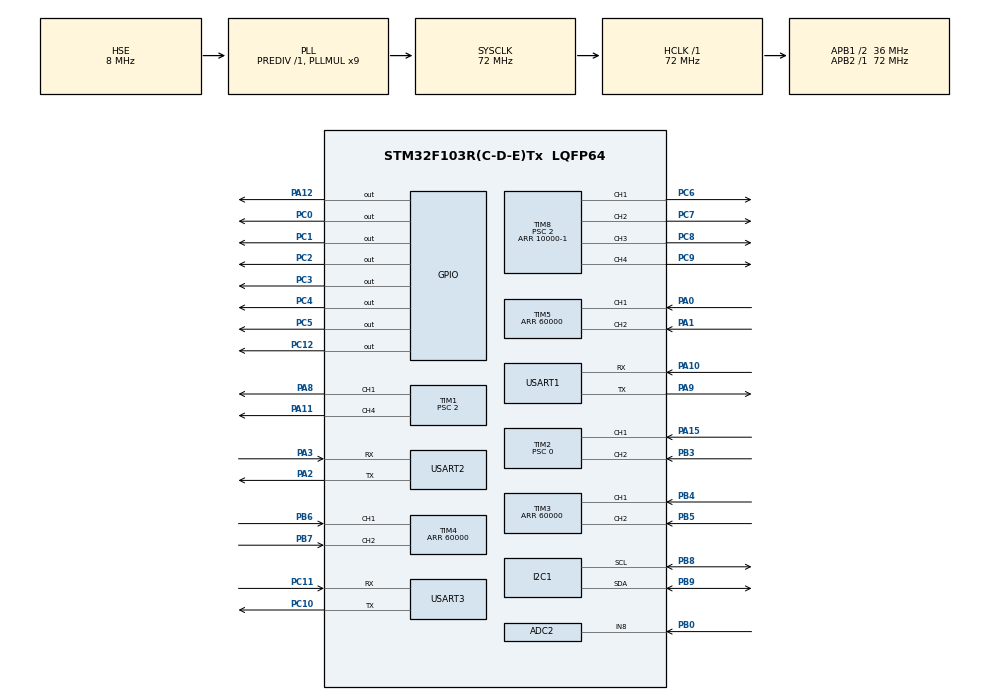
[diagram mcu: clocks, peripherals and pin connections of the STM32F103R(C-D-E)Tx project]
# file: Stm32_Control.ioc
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ADC2.Channel-0\#ChannelRegularConversion=ADC_CHANNEL_8
ADC2.NbrOfConversionFlag=1
ADC2.Rank-0\#ChannelRegularConversion=1
ADC2.SamplingTime-0\#ChannelRegularConversion=ADC_SAMPLETIME_1CYCLE_5
I2C1.I2C_Mode=I2C_Fast
Mcu.Family=STM32F1
Mcu.Name=STM32F103R(C-D-E)Tx
Mcu.Package=LQFP64
NVIC.PriorityGroup=NVIC_PRIORITYGROUP_4
NVIC.TIM6_IRQn=true\:0\:0\:false\:false\:true\:true\:true
NVIC.USART1_IRQn=true\:0\:0\:false\:false\:true\:true\:true
NVIC.USART2_IRQn=true\:0\:0\:false\:false\:true\:true\:true
PA0-WKUP.Signal=S_TIM5_CH1
PA1.Signal=S_TIM5_CH2
PA10.Mode=Asynchronous
PA10.Signal=USART1_RX
PA11.Signal=S_TIM1_CH4
PA12.Signal=GPIO_Output
PA13.Mode=Serial_Wire
PA13.Signal=SYS_JTMS-SWDIO
PA14.Mode=Serial_Wire
PA14.Signal=SYS_JTCK-SWCLK
PA15.Signal=S_TIM2_CH1_ETR
PA2.Mode=Asynchronous
PA2.Signal=USART2_TX
PA3.Mode=Asynchronous
PA3.Signal=USART2_RX
PA8.Signal=S_TIM1_CH1
PA9.Mode=Asynchronous
PA9.Signal=USART1_TX
PB0.Signal=ADCx_IN8
PB3.Signal=S_TIM2_CH2
PB4.Signal=S_TIM3_CH1
PB5.Signal=S_TIM3_CH2
PB6.Signal=S_TIM4_CH1
PB7.Signal=S_TIM4_CH2
PB8.Mode=I2C
PB8.Signal=I2C1_SCL
PB9.Mode=I2C
PB9.Signal=I2C1_SDA
PC0.Signal=GPIO_Output
PC1.Signal=GPIO_Output
PC10.Mode=Asynchronous
PC10.Signal=USART3_TX
PC11.Mode=Asynchronous
PC11.Signal=USART3_RX
PC12.Signal=GPIO_Output
PC2.Signal=GPIO_Output
PC3.Signal=GPIO_Output
PC4.Signal=GPIO_Output
PC5.Signal=GPIO_Output
PC6.Signal=S_TIM8_CH1
PC7.Signal=S_TIM8_CH2
PC8.Signal=S_TIM8_CH3
PC9.Signal=S_TIM8_CH4
PD0-OSC_IN.Mode=HSE-External-Oscillator
PD0-OSC_IN.Signal=RCC_OSC_IN
PD1-OSC_OUT.Mode=HSE-External-Oscillator
PD1-OSC_OUT.Signal=RCC_OSC_OUT
ProjectManager.HeapSize=0x200
ProjectManager.StackSize=0x400
ProjectManager.TargetToolchain=MDK-ARM V5.32
RCC.ADCPresc=RCC_ADCPCLK2_DIV6
RCC.AHBFreq_Value=72000000
RCC.APB1CLKDivider=RCC_HCLK_DIV2
RCC.APB1Freq_Value=36000000
RCC.APB1TimFreq_Value=72000000
RCC.APB2Freq_Value=72000000
RCC.APB2TimFreq_Value=72000000
RCC.HCLKFreq_Value=72000000
RCC.PLLMUL=RCC_PLL_MUL9
RCC.PLLSourceVirtual=RCC_PLLSOURCE_HSE
RCC.SYSCLKFreq_VALUE=72000000
RCC.SYSCLKSource=RCC_SYSCLKSOURCE_PLLCLK
RCC.USBFreq_Value=72000000
SH.ADCx_IN8.0=ADC2_IN8,IN8
SH.S_TIM1_CH1.0=TIM1_CH1,PWM Generation1 CH1
SH.S_TIM1_CH4.0=TIM1_CH4,PWM Generation4 CH4
SH.S_TIM2_CH1_ETR.0=TIM2_CH1,Encoder_Interface
SH.S_TIM2_CH2.0=TIM2_CH2,Encoder_Interface
SH.S_TIM3_CH1.0=TIM3_CH1,Encoder_Interface
SH.S_TIM3_CH2.0=TIM3_CH2,Encoder_Interface
SH.S_TIM4_CH1.0=TIM4_CH1,Encoder_Interface
SH.S_TIM4_CH2.0=TIM4_CH2,Encoder_Interface
SH.S_TIM5_CH1.0=TIM5_CH1,Encoder_Interface
SH.S_TIM5_CH2.0=TIM5_CH2,Encoder_Interface
SH.S_TIM8_CH1.0=TIM8_CH1,PWM Generation1 CH1
SH.S_TIM8_CH2.0=TIM8_CH2,PWM Generation2 CH2
SH.S_TIM8_CH3.0=TIM8_CH3,PWM Generation3 CH3
SH.S_TIM8_CH4.0=TIM8_CH4,PWM Generation4 CH4
TIM1.AutoReloadPreload=TIM_AUTORELOAD_PRELOAD_ENABLE
TIM1.Channel-PWM\ Generation1\ CH1=TIM_CHANNEL_1
TIM1.Channel-PWM\ Generation4\ CH4=TIM_CHANNEL_4
TIM1.Period=10000-1
TIM1.Prescaler=2
TIM1.Pulse-PWM\ Generation1\ CH1=5000
TIM1.Pulse-PWM\ Generation4\ CH4=5000
TIM2.AutoReloadPreload=TIM_AUTORELOAD_PRELOAD_ENABLE
TIM2.EncoderMode=TIM_ENCODERMODE_TI12
TIM2.IC1Filter=6
TIM2.IC2Filter=6
TIM2.Period=60000
TIM2.Prescaler=0
TIM3.EncoderMode=TIM_ENCODERMODE_TI12
TIM3.IC1Filter=6
TIM3.IC2Filter=6
TIM3.Period=60000
TIM4.EncoderMode=TIM_ENCODERMODE_TI12
TIM4.IC1Filter=6
TIM4.IC2Filter=6
TIM4.Period=60000
TIM5.EncoderMode=TIM_ENCODERMODE_TI12
TIM5.IC1Filter=6
TIM5.IC2Filter=6
TIM5.Period=60000
TIM6.Period=10000
TIM6.Prescaler=72-1
TIM8.AutoReloadPreload=TIM_AUTORELOAD_PRELOAD_ENABLE
TIM8.Channel-PWM\ Generation1\ CH1=TIM_CHANNEL_1
TIM8.Channel-PWM\ Generation2\ CH2=TIM_CHANNEL_2
TIM8.Channel-PWM\ Generation3\ CH3=TIM_CHANNEL_3
TIM8.Channel-PWM\ Generation4\ CH4=TIM_CHANNEL_4
TIM8.Period=10000-1
TIM8.Prescaler=2
TIM8.Pulse-PWM\ Generation1\ CH1=5000
TIM8.Pulse-PWM\ Generation2\ CH2=5000
TIM8.Pulse-PWM\ Generation3\ CH3=5000
TIM8.Pulse-PWM\ Generation4\ CH4=5000
USART1.VirtualMode=VM_ASYNC
USART2.VirtualMode=VM_ASYNC
USART3.VirtualMode=VM_ASYNC
VP_TIM1_VS_ClockSourceINT.Mode=Internal
VP_TIM6_VS_ClockSourceINT.Mode=Enable_Timer
VP_TIM8_VS_ClockSourceINT.Mode=Internal
board=custom

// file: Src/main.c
/* USER CODE BEGIN Header */
/**
  ******************************************************************************
  * @file           : main.c
  * @brief          : Main program body
  ******************************************************************************
  * @attention
  *
  * <h2><center>&copy; Copyright (c) 2023 STMicroelectronics.
  * All rights reserved.</center></h2>
  *
  * This software component is licensed by ST under BSD 3-Clause license,
  * the "License"; You may not use this file except in compliance with the
  * License. You may obtain a copy of the License at:
  *                        opensource.org/licenses/BSD-3-Clause
  *
  ******************************************************************************
  */
/* USER CODE END Header */
#include "main.h"

/* USER CODE BEGIN Includes */
#include <stdio.h>
#include "debug.h"
#include "motor_drive.h"
#include "debug_uart.h"
#include "motor_encode.h"
#include "motor_pid.h"
#include "Kinematics.h"
#include "Communication_Serial.h"
#include "mpu6050.h"

/* USER CODE END Includes */

/* USER CODE BEGIN PD */
DEBUG_SET_LEVEL(DEBUG_LEVEL_DEBUG);
#define ENCODER_MID_VALUE 30000

/* USER CODE END PD */

ADC_HandleTypeDef hadc2;

I2C_HandleTypeDef hi2c1;

TIM_HandleTypeDef htim1;
TIM_HandleTypeDef htim2;
TIM_HandleTypeDef htim3;
TIM_HandleTypeDef htim4;
TIM_HandleTypeDef htim5;
TIM_HandleTypeDef htim6;
TIM_HandleTypeDef htim8;

UART_HandleTypeDef huart1;
UART_HandleTypeDef huart2;
UART_HandleTypeDef huart3;

/* USER CODE BEGIN PV */
extern uint8_t uartRxBuffer[20];
extern uint16_t Target_Speed_A;//串口输入,用于测试PID
extern uint16_t Target_Speed_B;
extern uint16_t Target_Speed_C;
extern uint16_t Target_Speed_D;
extern int16_t motor_kp;  //PID-P
extern int16_t motor_ki;    //PID-I
extern int16_t motor_kd;  //PID-D

int16_t encoder_delta[4] = {0};//编码器变化的值     --用于速度的计算
int16_t encoder_sum[4]   = {0};//编码器变化的累加值 --用于里程计的计算

int16_t motor_pwm[4] 	   = {0};
int16_t robot_odom[6] = {0}; //里程计数据，绝对值和变化值，x y yaw dx dy dyaw

int16_t robot_target_speed[3] = {0};//机器人目标速度(x,y,yaw)，该值是由ROS上层通过串口传递过来
int16_t encoder_delta_target[4] = {0}; //编码器目标变化值，由上面的robot_target_speed[]根据逆解算得到的四轮转速的编码器值

int16_t mpu_data[10]; //用于存储IMU数据(陀螺仪,加速度,姿态角)---最后一个位置没有使用
int16_t robot_params[2]={1000,1000};

/* USER CODE END PV */

void SystemClock_Config(void);
static void MX_GPIO_Init(void);
static void MX_ADC2_Init(void);
static void MX_I2C1_Init(void);
static void MX_TIM1_Init(void);
static void MX_TIM2_Init(void);
static void MX_TIM3_Init(void);
static void MX_TIM4_Init(void);
static void MX_TIM5_Init(void);
static void MX_TIM6_Init(void);
static void MX_TIM8_Init(void);
static void MX_USART1_UART_Init(void);
static void MX_USART2_UART_Init(void);
static void MX_USART3_UART_Init(void);

/* USER CODE BEGIN 0 */

/*Use for uart printf*/
int fputc(int ch,FILE *f){
	uint8_t temp[1] = {ch};
	HAL_UART_Transmit(&huart1,temp,1,2);
	return 1;
}

/**
  * @简  述  MPU6050 DMP获取解算数据，姿态欧拉角
  * @参  数  无
  * @返回值  无
  * @全  局
	mpu_data[0-2] 陀螺仪
  mpu_data[3-5] 加速度
  mpu_data[6-8] 欧拉角 横滚，俯仰，航向，实际角度扩大100倍
  pitch:俯仰角 精度:0.1°   范围:-90.0° <---> +90.0°
	roll:横滚角  精度:0.1°   范围:-180.0°<---> +180.0°
	yaw:航向角   精度:0.1°   范围:-180.0°<---> +180.0°
  */

void ROBOT_GetImuData()
{
				//读取mpu所有原始数据
		w_mpu_read_all_raw_data(&mpu_raw_msg);
		//读取mpu姿态
		read_dmp(&mpu_pose_msg);
		// DEBUG("Pitch: %f\t ", mpu_pose_msg.pitch);
		// DEBUG("Roll:  %f\t ", mpu_pose_msg.roll);
		// DEBUG("Yaw:   %f\t \r\n", mpu_pose_msg.yaw);
		//陀螺仪
		mpu_data[0] = mpu_raw_msg.mpu_gyro[0];
		mpu_data[1] = mpu_raw_msg.mpu_gyro[1];
		mpu_data[2] =	mpu_raw_msg.mpu_gyro[2];
		//加速度
		mpu_data[3] = mpu_raw_msg.mpu_acce[0];
		mpu_data[4] = mpu_raw_msg.mpu_acce[1];
		mpu_data[5] =	mpu_raw_msg.mpu_acce[2];
		//姿态-放大了100倍
		mpu_data[6] = mpu_pose_msg.pitch * 100;
		mpu_data[7] = mpu_pose_msg.roll  * 100;
		mpu_data[8] =	mpu_pose_msg.yaw 	 * 100;
		//DEBUG("angular(%f,%f,%f)\r\n",((float)mpu_data[0]/32768*2000/180*3.1415),((float)mpu_data[1]/32768*2000/180*3.1415),((float)mpu_data[2]/32768*2000/180*3.1415));

}
void MPU6050_Init()
{
		while(w_mpu_init() != mpu_ok)
		{
			ERR("0x%x (ID_ERROR)\r\n", w_mpu_init());
			HAL_Delay(500);
		}
		while(0 != dmp_init())
		{
			ERR("Dmp init error \r\n");
			HAL_Delay(1000);
		}
}

void Robot_Move_Ctrl(void)
{
		 //每隔一定时间得到编码器的变化值
		encoder_delta[0] = Get_Encode_Motor_A()-ENCODER_MID_VALUE;  		//A-左前
		encoder_delta[1] = Get_Encode_Motor_B()  -ENCODER_MID_VALUE;  	//B-右前
		encoder_delta[2] = -(Get_Encode_Motor_C()-ENCODER_MID_VALUE); 	//C-右后
		encoder_delta[3] = -(Get_Encode_Motor_D()  -ENCODER_MID_VALUE); //D-左后
	//printf("encoder_delta(%d,%d,%d,%d)\r\n",encoder_delta[0],encoder_delta[1],encoder_delta[2],encoder_delta[3]);
		//置位--编码器计数从0~65536的范围因为有正转和反转，所以取了一半30000开始计数
		Set_Encode_Count_A(ENCODER_MID_VALUE);
		Set_Encode_Count_B(ENCODER_MID_VALUE);
		Set_Encode_Count_C(ENCODER_MID_VALUE);
		Set_Encode_Count_D(ENCODER_MID_VALUE);
		//编码器变化的累加值--用于里程计的计算
		encoder_sum[0] += encoder_delta[0];
		encoder_sum[1] += encoder_delta[1];
		encoder_sum[2] += encoder_delta[2];
		encoder_sum[3] += encoder_delta[3];
		//运动学解析
		Kinematics_Forward(encoder_sum,robot_odom);//正解:得到里程计和小车轴心速度
		Kinematics_Inverse(robot_target_speed, encoder_delta_target);//逆解：由串口数据得到编码器的目标值
		//PID的控制
		motor_pwm[0] = PID_MotorVelocityCtlA(encoder_delta_target[0], encoder_delta[0]);
		motor_pwm[1] = PID_MotorVelocityCtlB(encoder_delta_target[1], encoder_delta[1]);
		motor_pwm[2] = PID_MotorVelocityCtlC(encoder_delta_target[2], encoder_delta[2]);
		motor_pwm[3] = PID_MotorVelocityCtlD(encoder_delta_target[3], encoder_delta[3]);

		// DEBUG("target(%d,%d,%d,%d), encoder_delta(%d,%d,%d,%d),motor_pwm(%d,%d,%d,%d)\r\n",
		// 				encoder_delta_target[0],encoder_delta_target[1],encoder_delta_target[2],encoder_delta_target[3],
		// 				encoder_delta[0],encoder_delta[0],encoder_delta[0],encoder_delta[0],
		// 				motor_pwm[0],motor_pwm[1],motor_pwm[2],motor_pwm[3]);

		// PID的控制
		Motor_A_SetSpeed(motor_pwm[0]);
		Motor_B_SetSpeed(motor_pwm[1]);
		Motor_C_SetSpeed(motor_pwm[2]);
		Motor_D_SetSpeed(motor_pwm[3]);
}

/* USER CODE END 0 */

int main(void)
{
  /* USER CODE BEGIN 1 */
    uint8_t cnt_50HZ = 1;
  /* USER CODE END 1 */

  /* MCU Configuration--------------------------------------------------------*/

  /* Reset of all peripherals, Initializes the Flash interface and the Systick. */
  HAL_Init();

  /* Configure the system clock */
  SystemClock_Config();

  /* Initialize all configured peripherals */
  MX_GPIO_Init();
  MX_ADC2_Init();
  MX_I2C1_Init();
  MX_TIM1_Init();
  MX_TIM2_Init();
  MX_TIM3_Init();
  MX_TIM4_Init();
  MX_TIM5_Init();
  MX_TIM6_Init();
  MX_TIM8_Init();
  MX_USART2_UART_Init();
  MX_USART3_UART_Init();
  MX_USART1_UART_Init();
  Enable_UART_Receive();

  /* USER CODE BEGIN 2 */
  MPU6050_Init ();
  Motor_Init();

  MOTOR_A_Control(RUN,FORWART,2000);
  MOTOR_B_Control(RUN,FORWART,2000);
  MOTOR_C_Control(RUN,FORWART,2000);
  MOTOR_D_Control(RUN,FORWART,2000);

  Start_Encode();
  Set_Encode_Count_A(ENCODER_MID_VALUE);
	Set_Encode_Count_B(ENCODER_MID_VALUE);
	Set_Encode_Count_C(ENCODER_MID_VALUE);
	Set_Encode_Count_D(ENCODER_MID_VALUE);

  Start_Main_Loop();

  INFO("Init done...\r\n");

  Kinematics_Init(robot_params);

  // char count_str[20];
  // char a =1;

  /* USER CODE END 2 */

  /* Infinite loop */
  while (1)
  {
		if(check_tim6_status() == 1)//10ms-->100MHZ
		{
			if(cnt_50HZ % 2 ==0)//50MHZ
			{
				//机器人的运动控制<正解、逆解、PID等>
				// Robot_Move_Ctrl();

				//获取IMU数据
				ROBOT_GetImuData();

				//向上位机发送数据
				ROBOT_SendDataToJetson();

			}
      cnt_50HZ ++;
    }
    // printf_rcv_buffer(&mpu_data,10);
    // uart_debug();  //uart debug

  }
}

void SystemClock_Config(void)
{
  RCC_OscInitTypeDef RCC_OscInitStruct = {0};
  RCC_ClkInitTypeDef RCC_ClkInitStruct = {0};
  RCC_PeriphCLKInitTypeDef PeriphClkInit = {0};

  /** Initializes the RCC Oscillators according to the specified parameters
  * in the RCC_OscInitTypeDef structure.
  */
  RCC_OscInitStruct.OscillatorType = RCC_OSCILLATORTYPE_HSE;
  RCC_OscInitStruct.HSEState = RCC_HSE_ON;
  RCC_OscInitStruct.HSEPredivValue = RCC_HSE_PREDIV_DIV1;
  RCC_OscInitStruct.HSIState = RCC_HSI_ON;
  RCC_OscInitStruct.PLL.PLLState = RCC_PLL_ON;
  RCC_OscInitStruct.PLL.PLLSource = RCC_PLLSOURCE_HSE;
  RCC_OscInitStruct.PLL.PLLMUL = RCC_PLL_MUL9;
  if (HAL_RCC_OscConfig(&RCC_OscInitStruct) != HAL_OK)
  {
    Error_Handler();
  }
  /** Initializes the CPU, AHB and APB buses clocks
  */
  RCC_ClkInitStruct.ClockType = RCC_CLOCKTYPE_HCLK|RCC_CLOCKTYPE_SYSCLK
                              |RCC_CLOCKTYPE_PCLK1|RCC_CLOCKTYPE_PCLK2;
  RCC_ClkInitStruct.SYSCLKSource = RCC_SYSCLKSOURCE_PLLCLK;
  RCC_ClkInitStruct.AHBCLKDivider = RCC_SYSCLK_DIV1;
  RCC_ClkInitStruct.APB1CLKDivider = RCC_HCLK_DIV2;
  RCC_ClkInitStruct.APB2CLKDivider = RCC_HCLK_DIV1;

  if (HAL_RCC_ClockConfig(&RCC_ClkInitStruct, FLASH_LATENCY_2) != HAL_OK)
  {
    Error_Handler();
  }
  PeriphClkInit.PeriphClockSelection = RCC_PERIPHCLK_ADC;
  PeriphClkInit.AdcClockSelection = RCC_ADCPCLK2_DIV6;
  if (HAL_RCCEx_PeriphCLKConfig(&PeriphClkInit) != HAL_OK)
  {
    Error_Handler();
  }
}

static void MX_ADC2_Init(void)
{

  ADC_ChannelConfTypeDef sConfig = {0};

  /** Common config
  */
  hadc2.Instance = ADC2;
  hadc2.Init.ScanConvMode = ADC_SCAN_DISABLE;
  hadc2.Init.ContinuousConvMode = DISABLE;
  hadc2.Init.DiscontinuousConvMode = DISABLE;
  hadc2.Init.ExternalTrigConv = ADC_SOFTWARE_START;
  hadc2.Init.DataAlign = ADC_DATAALIGN_RIGHT;
  hadc2.Init.NbrOfConversion = 1;
  if (HAL_ADC_Init(&hadc2) != HAL_OK)
  {
    Error_Handler();
  }
  /** Configure Regular Channel
  */
  sConfig.Channel = ADC_CHANNEL_8;
  sConfig.Rank = ADC_REGULAR_RANK_1;
  sConfig.SamplingTime = ADC_SAMPLETIME_1CYCLE_5;
  if (HAL_ADC_ConfigChannel(&hadc2, &sConfig) != HAL_OK)
  {
    Error_Handler();
  }

}

static void MX_I2C1_Init(void)
{

  hi2c1.Instance = I2C1;
  hi2c1.Init.ClockSpeed = 400000;
  hi2c1.Init.DutyCycle = I2C_DUTYCYCLE_2;
  hi2c1.Init.OwnAddress1 = 0;
  hi2c1.Init.AddressingMode = I2C_ADDRESSINGMODE_7BIT;
  hi2c1.Init.DualAddressMode = I2C_DUALADDRESS_DISABLE;
  hi2c1.Init.OwnAddress2 = 0;
  hi2c1.Init.GeneralCallMode = I2C_GENERALCALL_DISABLE;
  hi2c1.Init.NoStretchMode = I2C_NOSTRETCH_DISABLE;
  if (HAL_I2C_Init(&hi2c1) != HAL_OK)
  {
    Error_Handler();
  }

}

static void MX_TIM1_Init(void)
{

  TIM_ClockConfigTypeDef sClockSourceConfig = {0};
  TIM_MasterConfigTypeDef sMasterConfig = {0};
  TIM_OC_InitTypeDef sConfigOC = {0};
  TIM_BreakDeadTimeConfigTypeDef sBreakDeadTimeConfig = {0};

  htim1.Instance = TIM1;
  htim1.Init.Prescaler = 2;
  htim1.Init.CounterMode = TIM_COUNTERMODE_UP;
  htim1.Init.Period = 10000-1;
  htim1.Init.ClockDivision = TIM_CLOCKDIVISION_DIV1;
  htim1.Init.RepetitionCounter = 0;
  htim1.Init.AutoReloadPreload = TIM_AUTORELOAD_PRELOAD_ENABLE;
  if (HAL_TIM_Base_Init(&htim1) != HAL_OK)
  {
    Error_Handler();
  }
  sClockSourceConfig.ClockSource = TIM_CLOCKSOURCE_INTERNAL;
  if (HAL_TIM_ConfigClockSource(&htim1, &sClockSourceConfig) != HAL_OK)
  {
    Error_Handler();
  }
  if (HAL_TIM_PWM_Init(&htim1) != HAL_OK)
  {
    Error_Handler();
  }
  sMasterConfig.MasterOutputTrigger = TIM_TRGO_RESET;
  sMasterConfig.MasterSlaveMode = TIM_MASTERSLAVEMODE_DISABLE;
  if (HAL_TIMEx_MasterConfigSynchronization(&htim1, &sMasterConfig) != HAL_OK)
  {
    Error_Handler();
  }
  sConfigOC.OCMode = TIM_OCMODE_PWM1;
  sConfigOC.Pulse = 0;
  sConfigOC.OCPolarity = TIM_OCPOLARITY_HIGH;
  sConfigOC.OCNPolarity = TIM_OCNPOLARITY_HIGH;
  sConfigOC.OCFastMode = TIM_OCFAST_DISABLE;
  sConfigOC.OCIdleState = TIM_OCIDLESTATE_RESET;
  sConfigOC.OCNIdleState = TIM_OCNIDLESTATE_RESET;
  if (HAL_TIM_PWM_ConfigChannel(&htim1, &sConfigOC, TIM_CHANNEL_1) != HAL_OK)
  {
    Error_Handler();
  }
  if (HAL_TIM_PWM_ConfigChannel(&htim1, &sConfigOC, TIM_CHANNEL_4) != HAL_OK)
  {
    Error_Handler();
  }
  sBreakDeadTimeConfig.OffStateRunMode = TIM_OSSR_DISABLE;
  sBreakDeadTimeConfig.OffStateIDLEMode = TIM_OSSI_DISABLE;
  sBreakDeadTimeConfig.LockLevel = TIM_LOCKLEVEL_OFF;
  sBreakDeadTimeConfig.DeadTime = 0;
  sBreakDeadTimeConfig.BreakState = TIM_BREAK_DISABLE;
  sBreakDeadTimeConfig.BreakPolarity = TIM_BREAKPOLARITY_HIGH;
  sBreakDeadTimeConfig.AutomaticOutput = TIM_AUTOMATICOUTPUT_DISABLE;
  if (HAL_TIMEx_ConfigBreakDeadTime(&htim1, &sBreakDeadTimeConfig) != HAL_OK)
  {
    Error_Handler();
  }
  HAL_TIM_MspPostInit(&htim1);

}

static void MX_TIM2_Init(void)
{

  TIM_Encoder_InitTypeDef sConfig = {0};
  TIM_MasterConfigTypeDef sMasterConfig = {0};

  htim2.Instance = TIM2;
  htim2.Init.Prescaler = 0;
  htim2.Init.CounterMode = TIM_COUNTERMODE_UP;
  htim2.Init.Period = 60000;
  htim2.Init.ClockDivision = TIM_CLOCKDIVISION_DIV1;
  htim2.Init.AutoReloadPreload = TIM_AUTORELOAD_PRELOAD_ENABLE;
  sConfig.EncoderMode = TIM_ENCODERMODE_TI12;
  sConfig.IC1Polarity = TIM_ICPOLARITY_RISING;
  sConfig.IC1Selection = TIM_ICSELECTION_DIRECTTI;
  sConfig.IC1Prescaler = TIM_ICPSC_DIV1;
  sConfig.IC1Filter = 6;
  sConfig.IC2Polarity = TIM_ICPOLARITY_RISING;
  sConfig.IC2Selection = TIM_ICSELECTION_DIRECTTI;
  sConfig.IC2Prescaler = TIM_ICPSC_DIV1;
  sConfig.IC2Filter = 6;
  if (HAL_TIM_Encoder_Init(&htim2, &sConfig) != HAL_OK)
  {
    Error_Handler();
  }
  sMasterConfig.MasterOutputTrigger = TIM_TRGO_RESET;
  sMasterConfig.MasterSlaveMode = TIM_MASTERSLAVEMODE_DISABLE;
  if (HAL_TIMEx_MasterConfigSynchronization(&htim2, &sMasterConfig) != HAL_OK)
  {
    Error_Handler();
  }

}

static void MX_TIM3_Init(void)
{

  TIM_Encoder_InitTypeDef sConfig = {0};
  TIM_MasterConfigTypeDef sMasterConfig = {0};

  htim3.Instance = TIM3;
  htim3.Init.Prescaler = 0;
  htim3.Init.CounterMode = TIM_COUNTERMODE_UP;
  htim3.Init.Period = 60000;
  htim3.Init.ClockDivision = TIM_CLOCKDIVISION_DIV1;
  htim3.Init.AutoReloadPreload = TIM_AUTORELOAD_PRELOAD_DISABLE;
  sConfig.EncoderMode = TIM_ENCODERMODE_TI12;
  sConfig.IC1Polarity = TIM_ICPOLARITY_RISING;
  sConfig.IC1Selection = TIM_ICSELECTION_DIRECTTI;
  sConfig.IC1Prescaler = TIM_ICPSC_DIV1;
  sConfig.IC1Filter = 6;
  sConfig.IC2Polarity = TIM_ICPOLARITY_RISING;
  sConfig.IC2Selection = TIM_ICSELECTION_DIRECTTI;
  sConfig.IC2Prescaler = TIM_ICPSC_DIV1;
  sConfig.IC2Filter = 6;
  if (HAL_TIM_Encoder_Init(&htim3, &sConfig) != HAL_OK)
  {
    Error_Handler();
  }
  sMasterConfig.MasterOutputTrigger = TIM_TRGO_RESET;
  sMasterConfig.MasterSlaveMode = TIM_MASTERSLAVEMODE_DISABLE;
  if (HAL_TIMEx_MasterConfigSynchronization(&htim3, &sMasterConfig) != HAL_OK)
  {
    Error_Handler();
  }

}

static void MX_TIM4_Init(void)
{

  TIM_Encoder_InitTypeDef sConfig = {0};
  TIM_MasterConfigTypeDef sMasterConfig = {0};

  htim4.Instance = TIM4;
  htim4.Init.Prescaler = 0;
  htim4.Init.CounterMode = TIM_COUNTERMODE_UP;
  htim4.Init.Period = 60000;
  htim4.Init.ClockDivision = TIM_CLOCKDIVISION_DIV1;
  htim4.Init.AutoReloadPreload = TIM_AUTORELOAD_PRELOAD_DISABLE;
  sConfig.EncoderMode = TIM_ENCODERMODE_TI12;
  sConfig.IC1Polarity = TIM_ICPOLARITY_RISING;
  sConfig.IC1Selection = TIM_ICSELECTION_DIRECTTI;
  sConfig.IC1Prescaler = TIM_ICPSC_DIV1;
  sConfig.IC1Filter = 6;
  sConfig.IC2Polarity = TIM_ICPOLARITY_RISING;
  sConfig.IC2Selection = TIM_ICSELECTION_DIRECTTI;
  sConfig.IC2Prescaler = TIM_ICPSC_DIV1;
  sConfig.IC2Filter = 6;
  if (HAL_TIM_Encoder_Init(&htim4, &sConfig) != HAL_OK)
  {
    Error_Handler();
  }
  sMasterConfig.MasterOutputTrigger = TIM_TRGO_RESET;
  sMasterConfig.MasterSlaveMode = TIM_MASTERSLAVEMODE_DISABLE;
  if (HAL_TIMEx_MasterConfigSynchronization(&htim4, &sMasterConfig) != HAL_OK)
  {
    Error_Handler();
  }

}

static void MX_TIM5_Init(void)
{

  TIM_Encoder_InitTypeDef sConfig = {0};
  TIM_MasterConfigTypeDef sMasterConfig = {0};

  htim5.Instance = TIM5;
  htim5.Init.Prescaler = 0;
  htim5.Init.CounterMode = TIM_COUNTERMODE_UP;
  htim5.Init.Period = 60000;
  htim5.Init.ClockDivision = TIM_CLOCKDIVISION_DIV1;
  htim5.Init.AutoReloadPreload = TIM_AUTORELOAD_PRELOAD_DISABLE;
  sConfig.EncoderMode = TIM_ENCODERMODE_TI12;
  sConfig.IC1Polarity = TIM_ICPOLARITY_RISING;
  sConfig.IC1Selection = TIM_ICSELECTION_DIRECTTI;
  sConfig.IC1Prescaler = TIM_ICPSC_DIV1;
  sConfig.IC1Filter = 6;
  sConfig.IC2Polarity = TIM_ICPOLARITY_RISING;
  sConfig.IC2Selection = TIM_ICSELECTION_DIRECTTI;
  sConfig.IC2Prescaler = TIM_ICPSC_DIV1;
  sConfig.IC2Filter = 6;
  if (HAL_TIM_Encoder_Init(&htim5, &sConfig) != HAL_OK)
  {
    Error_Handler();
  }
  sMasterConfig.MasterOutputTrigger = TIM_TRGO_RESET;
  sMasterConfig.MasterSlaveMode = TIM_MASTERSLAVEMODE_DISABLE;
  if (HAL_TIMEx_MasterConfigSynchronization(&htim5, &sMasterConfig) != HAL_OK)
  {
    Error_Handler();
  }

}

static void MX_TIM6_Init(void)
{

  TIM_MasterConfigTypeDef sMasterConfig = {0};

  htim6.Instance = TIM6;
  htim6.Init.Prescaler = 72-1;
  htim6.Init.CounterMode = TIM_COUNTERMODE_UP;
  htim6.Init.Period = 10000;
  htim6.Init.AutoReloadPreload = TIM_AUTORELOAD_PRELOAD_DISABLE;
  if (HAL_TIM_Base_Init(&htim6) != HAL_OK)
  {
    Error_Handler();
  }
  sMasterConfig.MasterOutputTrigger = TIM_TRGO_RESET;
  sMasterConfig.MasterSlaveMode = TIM_MASTERSLAVEMODE_DISABLE;
  if (HAL_TIMEx_MasterConfigSynchronization(&htim6, &sMasterConfig) != HAL_OK)
  {
    Error_Handler();
  }

}

static void MX_TIM8_Init(void)
{

  TIM_ClockConfigTypeDef sClockSourceConfig = {0};
  TIM_MasterConfigTypeDef sMasterConfig = {0};
  TIM_OC_InitTypeDef sConfigOC = {0};
  TIM_BreakDeadTimeConfigTypeDef sBreakDeadTimeConfig = {0};

  htim8.Instance = TIM8;
  htim8.Init.Prescaler = 2;
  htim8.Init.CounterMode = TIM_COUNTERMODE_UP;
  htim8.Init.Period = 10000-1;
  htim8.Init.ClockDivision = TIM_CLOCKDIVISION_DIV1;
  htim8.Init.RepetitionCounter = 0;
  htim8.Init.AutoReloadPreload = TIM_AUTORELOAD_PRELOAD_ENABLE;
  if (HAL_TIM_Base_Init(&htim8) != HAL_OK)
  {
    Error_Handler();
  }
  sClockSourceConfig.ClockSource = TIM_CLOCKSOURCE_INTERNAL;
  if (HAL_TIM_ConfigClockSource(&htim8, &sClockSourceConfig) != HAL_OK)
  {
    Error_Handler();
  }
  if (HAL_TIM_PWM_Init(&htim8) != HAL_OK)
  {
    Error_Handler();
  }
  sMasterConfig.MasterOutputTrigger = TIM_TRGO_RESET;
  sMasterConfig.MasterSlaveMode = TIM_MASTERSLAVEMODE_DISABLE;
  if (HAL_TIMEx_MasterConfigSynchronization(&htim8, &sMasterConfig) != HAL_OK)
  {
    Error_Handler();
  }
  sConfigOC.OCMode = TIM_OCMODE_PWM1;
  sConfigOC.Pulse = 0;
  sConfigOC.OCPolarity = TIM_OCPOLARITY_HIGH;
  sConfigOC.OCNPolarity = TIM_OCNPOLARITY_HIGH;
  sConfigOC.OCFastMode = TIM_OCFAST_DISABLE;
  sConfigOC.OCIdleState = TIM_OCIDLESTATE_RESET;
  sConfigOC.OCNIdleState = TIM_OCNIDLESTATE_RESET;
  if (HAL_TIM_PWM_ConfigChannel(&htim8, &sConfigOC, TIM_CHANNEL_1) != HAL_OK)
  {
    Error_Handler();
  }
  if (HAL_TIM_PWM_ConfigChannel(&htim8, &sConfigOC, TIM_CHANNEL_2) != HAL_OK)
  {
    Error_Handler();
  }
  if (HAL_TIM_PWM_ConfigChannel(&htim8, &sConfigOC, TIM_CHANNEL_3) != HAL_OK)
  {
    Error_Handler();
  }
  if (HAL_TIM_PWM_ConfigChannel(&htim8, &sConfigOC, TIM_CHANNEL_4) != HAL_OK)
  {
    Error_Handler();
  }
  sBreakDeadTimeConfig.OffStateRunMode = TIM_OSSR_DISABLE;
  sBreakDeadTimeConfig.OffStateIDLEMode = TIM_OSSI_DISABLE;
  sBreakDeadTimeConfig.LockLevel = TIM_LOCKLEVEL_OFF;
  sBreakDeadTimeConfig.DeadTime = 0;
  sBreakDeadTimeConfig.BreakState = TIM_BREAK_DISABLE;
  sBreakDeadTimeConfig.BreakPolarity = TIM_BREAKPOLARITY_HIGH;
  sBreakDeadTimeConfig.AutomaticOutput = TIM_AUTOMATICOUTPUT_DISABLE;
  if (HAL_TIMEx_ConfigBreakDeadTime(&htim8, &sBreakDeadTimeConfig) != HAL_OK)
  {
    Error_Handler();
  }
  HAL_TIM_MspPostInit(&htim8);

}

static void MX_USART1_UART_Init(void)
{

  huart1.Instance = USART1;
  huart1.Init.BaudRate = 9600;
  huart1.Init.WordLength = UART_WORDLENGTH_8B;
  huart1.Init.StopBits = UART_STOPBITS_1;
  huart1.Init.Parity = UART_PARITY_NONE;
  huart1.Init.Mode = UART_MODE_TX_RX;
  huart1.Init.HwFlowCtl = UART_HWCONTROL_NONE;
  huart1.Init.OverSampling = UART_OVERSAMPLING_16;
  if (HAL_UART_Init(&huart1) != HAL_OK)
  {
    Error_Handler();
  }

}

static void MX_USART2_UART_Init(void)
{

  huart2.Instance = USART2;
  huart2.Init.BaudRate = 115200;
  huart2.Init.WordLength = UART_WORDLENGTH_8B;
  huart2.Init.StopBits = UART_STOPBITS_1;
  huart2.Init.Parity = UART_PARITY_NONE;
  huart2.Init.Mode = UART_MODE_TX_RX;
  huart2.Init.HwFlowCtl = UART_HWCONTROL_NONE;
  huart2.Init.OverSampling = UART_OVERSAMPLING_16;
  if (HAL_UART_Init(&huart2) != HAL_OK)
  {
    Error_Handler();
  }

}

static void MX_USART3_UART_Init(void)
{

  huart3.Instance = USART3;
  huart3.Init.BaudRate = 115200;
  huart3.Init.WordLength = UART_WORDLENGTH_8B;
  huart3.Init.StopBits = UART_STOPBITS_1;
  huart3.Init.Parity = UART_PARITY_NONE;
  huart3.Init.Mode = UART_MODE_TX_RX;
  huart3.Init.HwFlowCtl = UART_HWCONTROL_NONE;
  huart3.Init.OverSampling = UART_OVERSAMPLING_16;
  if (HAL_UART_Init(&huart3) != HAL_OK)
  {
    Error_Handler();
  }

}

static void MX_GPIO_Init(void)
{
  GPIO_InitTypeDef GPIO_InitStruct = {0};

  /* GPIO Ports Clock Enable */
  __HAL_RCC_GPIOD_CLK_ENABLE();
  __HAL_RCC_GPIOC_CLK_ENABLE();
  __HAL_RCC_GPIOA_CLK_ENABLE();
  __HAL_RCC_GPIOB_CLK_ENABLE();

  /*Configure GPIO pin Output Level */
  HAL_GPIO_WritePin(GPIOC, GPIO_PIN_0|GPIO_PIN_1|GPIO_PIN_2|GPIO_PIN_3
                          |GPIO_PIN_4|GPIO_PIN_5|GPIO_PIN_12, GPIO_PIN_RESET);

  /*Configure GPIO pin Output Level */
  HAL_GPIO_WritePin(GPIOA, GPIO_PIN_12, GPIO_PIN_RESET);

  /*Configure GPIO pins : PC0 PC1 PC2 PC3
                           PC4 PC5 PC12 */
  GPIO_InitStruct.Pin = GPIO_PIN_0|GPIO_PIN_1|GPIO_PIN_2|GPIO_PIN_3
                          |GPIO_PIN_4|GPIO_PIN_5|GPIO_PIN_12;
  GPIO_InitStruct.Mode = GPIO_MODE_OUTPUT_PP;
  GPIO_InitStruct.Pull = GPIO_NOPULL;
  GPIO_InitStruct.Speed = GPIO_SPEED_FREQ_LOW;
  HAL_GPIO_Init(GPIOC, &GPIO_InitStruct);

  /*Configure GPIO pin : PA12 */
  GPIO_InitStruct.Pin = GPIO_PIN_12;
  GPIO_InitStruct.Mode = GPIO_MODE_OUTPUT_PP;
  GPIO_InitStruct.Pull = GPIO_NOPULL;
  GPIO_InitStruct.Speed = GPIO_SPEED_FREQ_LOW;
  HAL_GPIO_Init(GPIOA, &GPIO_InitStruct);

}

void Error_Handler(void)
{
  __disable_irq();
  while (1)
  {
  }
}

/************************ (C) COPYRIGHT STMicroelectronics *****END OF FILE****/
